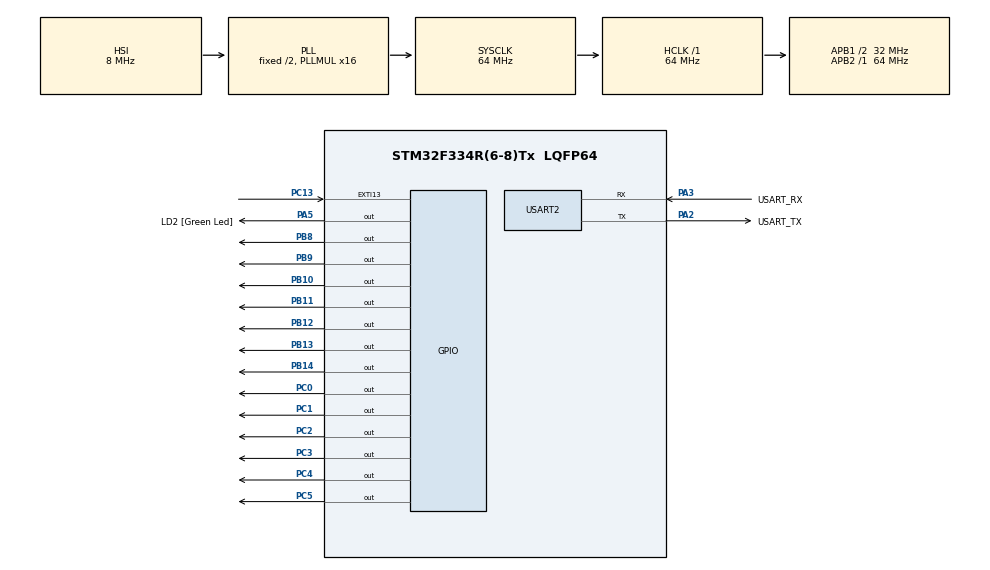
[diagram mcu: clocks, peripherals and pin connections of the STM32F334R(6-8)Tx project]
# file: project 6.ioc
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Mcu.Family=STM32F3
Mcu.Name=STM32F334R(6-8)Tx
Mcu.Package=LQFP64
NVIC.EXTI15_10_IRQn=true\:0\:0\:false\:false\:true\:true\:true\:true
NVIC.PriorityGroup=NVIC_PRIORITYGROUP_0
NVIC.TIM3_IRQn=true\:0\:0\:false\:false\:true\:true\:true\:true
PA13.GPIO_Label=TMS
PA13.Mode=Serial_Wire
PA13.Signal=SYS_JTMS-SWDIO
PA14.GPIO_Label=TCK
PA14.Mode=Serial_Wire
PA14.Signal=SYS_JTCK-SWCLK
PA2.GPIO_Label=USART_TX
PA2.Mode=Asynchronous
PA2.Signal=USART2_TX
PA3.GPIO_Label=USART_RX
PA3.Mode=Asynchronous
PA3.Signal=USART2_RX
PA5.GPIO_Label=LD2 [Green Led]
PA5.Signal=GPIO_Output
PB10.GPIO_ModeDefaultOutputPP=GPIO_MODE_OUTPUT_OD
PB10.GPIO_PuPd=GPIO_NOPULL
PB10.Signal=GPIO_Output
PB11.GPIO_ModeDefaultOutputPP=GPIO_MODE_OUTPUT_OD
PB11.GPIO_PuPd=GPIO_NOPULL
PB11.Signal=GPIO_Output
PB12.GPIO_ModeDefaultOutputPP=GPIO_MODE_OUTPUT_OD
PB12.GPIO_PuPd=GPIO_NOPULL
PB12.Signal=GPIO_Output
PB13.GPIO_ModeDefaultOutputPP=GPIO_MODE_OUTPUT_OD
PB13.GPIO_PuPd=GPIO_NOPULL
PB13.Signal=GPIO_Output
PB14.GPIO_ModeDefaultOutputPP=GPIO_MODE_OUTPUT_OD
PB14.GPIO_PuPd=GPIO_NOPULL
PB14.Signal=GPIO_Output
PB3.GPIO_Label=SWO
PB3.Signal=SYS_JTDO-TRACESWO
PB8.GPIO_ModeDefaultOutputPP=GPIO_MODE_OUTPUT_OD
PB8.GPIO_PuPd=GPIO_NOPULL
PB8.Signal=GPIO_Output
PB9.GPIO_ModeDefaultOutputPP=GPIO_MODE_OUTPUT_OD
PB9.GPIO_PuPd=GPIO_NOPULL
PB9.Signal=GPIO_Output
PC0.Signal=GPIO_Output
PC1.Signal=GPIO_Output
PC13.GPIO_ModeDefaultEXTI=GPIO_MODE_IT_FALLING
PC13.Signal=GPXTI13
PC14\ /\ OSC32_IN.Mode=LSE-External-Oscillator
PC14\ /\ OSC32_IN.Signal=RCC_OSC32_IN
PC15\ /\ OSC32_OUT.GPIO_Label=RCC_OSC32_OUT
PC15\ /\ OSC32_OUT.Mode=LSE-External-Oscillator
PC15\ /\ OSC32_OUT.Signal=RCC_OSC32_OUT
PC2.Signal=GPIO_Output
PC3.Signal=GPIO_Output
PC4.Signal=GPIO_Output
PC5.Signal=GPIO_Output
PF0\ /\ OSC_IN.Mode=HSE-External-Clock-Source
PF0\ /\ OSC_IN.Signal=RCC_OSC_IN
PF1\ /\ OSC_OUT.Signal=RCC_OSC_OUT
ProjectManager.HeapSize=0x200
ProjectManager.StackSize=0x400
ProjectManager.TargetToolchain=STM32CubeIDE
RCC.AHBFreq_Value=64000000
RCC.APB1CLKDivider=RCC_HCLK_DIV2
RCC.APB1Freq_Value=32000000
RCC.APB1TimFreq_Value=64000000
RCC.APB2Freq_Value=64000000
RCC.APB2TimFreq_Value=64000000
RCC.CortexFreq_Value=64000000
RCC.FLatency-AdvancedSettings=FLASH_LATENCY_2
RCC.HCLKFreq_Value=64000000
RCC.HSE_VALUE=8000000
RCC.HSI_VALUE=8000000
RCC.PLLMUL=RCC_PLL_MUL16
RCC.SYSCLKFreq_VALUE=64000000
RCC.SYSCLKSourceVirtual=RCC_SYSCLKSOURCE_PLLCLK
TIM3.AutoReloadPreload=TIM_AUTORELOAD_PRELOAD_ENABLE
TIM3.Period=6400
TIM3.Prescaler=9999
USART2.VirtualMode-Asynchronous=VM_ASYNC
VP_TIM3_VS_ClockSourceINT.Mode=Internal
board=NUCLEO-F334R8

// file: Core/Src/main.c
/* USER CODE BEGIN Header */
/**
  ******************************************************************************
  * @file           : main.c
  * @brief          : Main program body
  ******************************************************************************
  * @attention
  *
  * Copyright (c) 2023 STMicroelectronics.
  * All rights reserved.
  *
  * This software is licensed under terms that can be found in the LICENSE file
  * in the root directory of this software component.
  * If no LICENSE file comes with this software, it is provided AS-IS.
  *
  ******************************************************************************
  */
/* USER CODE END Header */
#include "main.h"

/* USER CODE BEGIN PD */
#define myLED GPIO_PIN_5
/* USER CODE END PD */

TIM_HandleTypeDef htim3;

UART_HandleTypeDef huart2;

/* USER CODE BEGIN PV */
int Count=0;
/* USER CODE END PV */

void SystemClock_Config(void);
static void MX_GPIO_Init(void);
static void MX_USART2_UART_Init(void);
static void MX_TIM3_Init(void);

int main(void)
{
  /* USER CODE BEGIN 1 */
	uint16_t Select_Row [5] = {0x01, 0x02, 0x04, 0x08, 0x10};
		uint16_t Digit_code [10][5] = {{0x07, 0x05, 0x05, 0x05, 0x07},	//zero
											{0x01, 0x01, 0x01, 0x01, 0x01},	//one
						                   			{0x07, 0x01, 0x07, 0x04, 0x07},	//two
											{0x07, 0x01, 0x03, 0x01, 0x07}, //three
											{0x05, 0x05, 0x07, 0x01, 0x01},	//four
											{0x07, 0x04, 0x07, 0x01, 0x07},	//five
											{0x07, 0x04, 0x07, 0x05, 0x07},	//six
											{0x07, 0x01, 0x01, 0x01, 0x01},	//seven
											{0x07, 0x05, 0x07, 0x05, 0x07},	//eight
			   			                			{0x07, 0x05, 0x07, 0x01, 0x01}};//nine

		uint16_t Display_code [5] = {0x00, 0x00, 0x00, 0x00, 0x00};
		int Row = 1;

		int i, MSD=0, LSD=0;

  /* USER CODE END 1 */

  /* MCU Configuration--------------------------------------------------------*/

  /* Reset of all peripherals, Initializes the Flash interface and the Systick. */
  HAL_Init();

  /* Configure the system clock */
  SystemClock_Config();

  /* Initialize all configured peripherals */
  MX_GPIO_Init();
  MX_USART2_UART_Init();
  MX_TIM3_Init();
  /* USER CODE BEGIN 2 */
  HAL_TIM_Base_Start_IT(&htim3);
  /* USER CODE END 2 */

  /* Infinite loop */
  /* USER CODE BEGIN WHILE */
  while (1)
  {
	  MSD = Count/10;   //Tens
	  LSD = Count % 10; //Units
	  for ( i = 0; i < 5; ++i) {
		  if (MSD==0){
			  Display_code[i] = Digit_code [LSD][i];
		  }
		  else{
			  Display_code[i] = (Digit_code [MSD][i]<<4) + Digit_code [LSD][i];
		  }
	  }

	  GPIOB->ODR = ~(Display_code [Row-1]<<8);
      GPIOC->ODR = Select_Row [Row-1];
	  HAL_Delay(1);

	  if (Row == 5) Row = 1;
	  else Row++;

    /* USER CODE END WHILE */

  }
}

void SystemClock_Config(void)
{
  RCC_OscInitTypeDef RCC_OscInitStruct = {0};
  RCC_ClkInitTypeDef RCC_ClkInitStruct = {0};

  /** Initializes the RCC Oscillators according to the specified parameters
  * in the RCC_OscInitTypeDef structure.
  */
  RCC_OscInitStruct.OscillatorType = RCC_OSCILLATORTYPE_HSI;
  RCC_OscInitStruct.HSIState = RCC_HSI_ON;
  RCC_OscInitStruct.HSICalibrationValue = RCC_HSICALIBRATION_DEFAULT;
  RCC_OscInitStruct.PLL.PLLState = RCC_PLL_ON;
  RCC_OscInitStruct.PLL.PLLSource = RCC_PLLSOURCE_HSI;
  RCC_OscInitStruct.PLL.PLLMUL = RCC_PLL_MUL16;
  if (HAL_RCC_OscConfig(&RCC_OscInitStruct) != HAL_OK)
  {
    Error_Handler();
  }

  /** Initializes the CPU, AHB and APB buses clocks
  */
  RCC_ClkInitStruct.ClockType = RCC_CLOCKTYPE_HCLK|RCC_CLOCKTYPE_SYSCLK
                              |RCC_CLOCKTYPE_PCLK1|RCC_CLOCKTYPE_PCLK2;
  RCC_ClkInitStruct.SYSCLKSource = RCC_SYSCLKSOURCE_PLLCLK;
  RCC_ClkInitStruct.AHBCLKDivider = RCC_SYSCLK_DIV1;
  RCC_ClkInitStruct.APB1CLKDivider = RCC_HCLK_DIV2;
  RCC_ClkInitStruct.APB2CLKDivider = RCC_HCLK_DIV1;

  if (HAL_RCC_ClockConfig(&RCC_ClkInitStruct, FLASH_LATENCY_2) != HAL_OK)
  {
    Error_Handler();
  }
}

static void MX_TIM3_Init(void)
{

  TIM_ClockConfigTypeDef sClockSourceConfig = {0};
  TIM_MasterConfigTypeDef sMasterConfig = {0};

  htim3.Instance = TIM3;
  htim3.Init.Prescaler = 9999;
  htim3.Init.CounterMode = TIM_COUNTERMODE_UP;
  htim3.Init.Period = 6400;
  htim3.Init.ClockDivision = TIM_CLOCKDIVISION_DIV1;
  htim3.Init.AutoReloadPreload = TIM_AUTORELOAD_PRELOAD_ENABLE;
  if (HAL_TIM_Base_Init(&htim3) != HAL_OK)
  {
    Error_Handler();
  }
  sClockSourceConfig.ClockSource = TIM_CLOCKSOURCE_INTERNAL;
  if (HAL_TIM_ConfigClockSource(&htim3, &sClockSourceConfig) != HAL_OK)
  {
    Error_Handler();
  }
  sMasterConfig.MasterOutputTrigger = TIM_TRGO_RESET;
  sMasterConfig.MasterSlaveMode = TIM_MASTERSLAVEMODE_DISABLE;
  if (HAL_TIMEx_MasterConfigSynchronization(&htim3, &sMasterConfig) != HAL_OK)
  {
    Error_Handler();
  }

}

static void MX_USART2_UART_Init(void)
{

  huart2.Instance = USART2;
  huart2.Init.BaudRate = 38400;
  huart2.Init.WordLength = UART_WORDLENGTH_8B;
  huart2.Init.StopBits = UART_STOPBITS_1;
  huart2.Init.Parity = UART_PARITY_NONE;
  huart2.Init.Mode = UART_MODE_TX_RX;
  huart2.Init.HwFlowCtl = UART_HWCONTROL_NONE;
  huart2.Init.OverSampling = UART_OVERSAMPLING_16;
  huart2.Init.OneBitSampling = UART_ONE_BIT_SAMPLE_DISABLE;
  huart2.AdvancedInit.AdvFeatureInit = UART_ADVFEATURE_NO_INIT;
  if (HAL_UART_Init(&huart2) != HAL_OK)
  {
    Error_Handler();
  }

}

static void MX_GPIO_Init(void)
{
  GPIO_InitTypeDef GPIO_InitStruct = {0};

  /* GPIO Ports Clock Enable */
  __HAL_RCC_GPIOC_CLK_ENABLE();
  __HAL_RCC_GPIOF_CLK_ENABLE();
  __HAL_RCC_GPIOA_CLK_ENABLE();
  __HAL_RCC_GPIOB_CLK_ENABLE();

  /*Configure GPIO pin Output Level */
  HAL_GPIO_WritePin(GPIOC, GPIO_PIN_0|GPIO_PIN_1|GPIO_PIN_2|GPIO_PIN_3
                          |GPIO_PIN_4|GPIO_PIN_5, GPIO_PIN_RESET);

  /*Configure GPIO pin Output Level */
  HAL_GPIO_WritePin(LD2_GPIO_Port, LD2_Pin, GPIO_PIN_RESET);

  /*Configure GPIO pin Output Level */
  HAL_GPIO_WritePin(GPIOB, GPIO_PIN_10|GPIO_PIN_11|GPIO_PIN_12|GPIO_PIN_13
                          |GPIO_PIN_14|GPIO_PIN_8|GPIO_PIN_9, GPIO_PIN_RESET);

  /*Configure GPIO pin : PC13 */
  GPIO_InitStruct.Pin = GPIO_PIN_13;
  GPIO_InitStruct.Mode = GPIO_MODE_IT_FALLING;
  GPIO_InitStruct.Pull = GPIO_NOPULL;
  HAL_GPIO_Init(GPIOC, &GPIO_InitStruct);

  /*Configure GPIO pins : PC0 PC1 PC2 PC3
                           PC4 PC5 */
  GPIO_InitStruct.Pin = GPIO_PIN_0|GPIO_PIN_1|GPIO_PIN_2|GPIO_PIN_3
                          |GPIO_PIN_4|GPIO_PIN_5;
  GPIO_InitStruct.Mode = GPIO_MODE_OUTPUT_PP;
  GPIO_InitStruct.Pull = GPIO_NOPULL;
  GPIO_InitStruct.Speed = GPIO_SPEED_FREQ_LOW;
  HAL_GPIO_Init(GPIOC, &GPIO_InitStruct);

  /*Configure GPIO pin : LD2_Pin */
  GPIO_InitStruct.Pin = LD2_Pin;
  GPIO_InitStruct.Mode = GPIO_MODE_OUTPUT_PP;
  GPIO_InitStruct.Pull = GPIO_NOPULL;
  GPIO_InitStruct.Speed = GPIO_SPEED_FREQ_LOW;
  HAL_GPIO_Init(LD2_GPIO_Port, &GPIO_InitStruct);

  /*Configure GPIO pins : PB10 PB11 PB12 PB13
                           PB14 PB8 PB9 */
  GPIO_InitStruct.Pin = GPIO_PIN_10|GPIO_PIN_11|GPIO_PIN_12|GPIO_PIN_13
                          |GPIO_PIN_14|GPIO_PIN_8|GPIO_PIN_9;
  GPIO_InitStruct.Mode = GPIO_MODE_OUTPUT_OD;
  GPIO_InitStruct.Pull = GPIO_NOPULL;
  GPIO_InitStruct.Speed = GPIO_SPEED_FREQ_LOW;
  HAL_GPIO_Init(GPIOB, &GPIO_InitStruct);

  /* EXTI interrupt init*/
  HAL_NVIC_SetPriority(EXTI15_10_IRQn, 0, 0);
  HAL_NVIC_EnableIRQ(EXTI15_10_IRQn);

}

void Error_Handler(void)
{
  __disable_irq();
  while (1)
  {
  }
}
